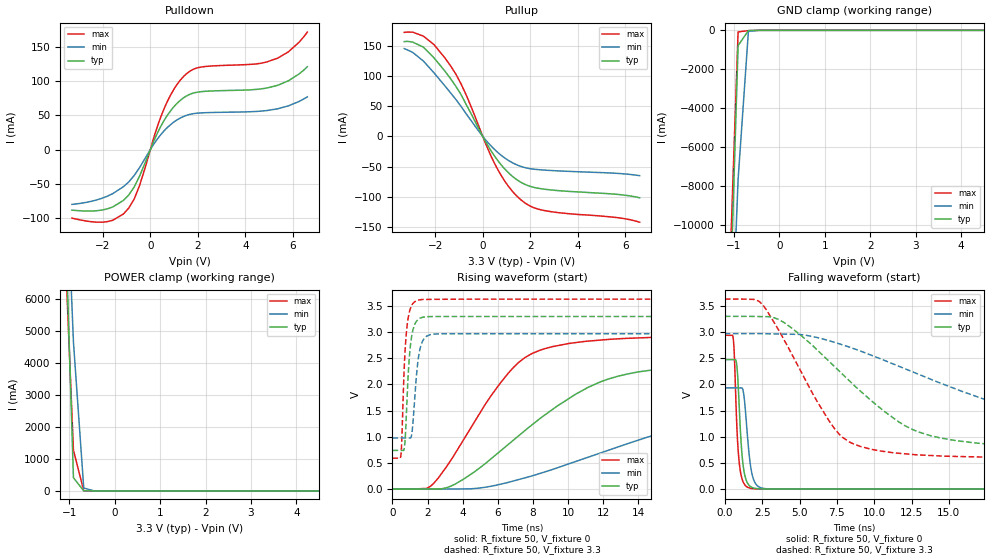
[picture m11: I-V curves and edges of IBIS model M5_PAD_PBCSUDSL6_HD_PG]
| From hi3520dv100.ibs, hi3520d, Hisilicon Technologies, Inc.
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[Model] M5_PAD_PBCSUDSL6_HD_PG
Model_type I/O
Vinl  =  0.8
Vinh  =  2
| Capacitance   typ   min   max
C_comp   3.54522587679e-12   3.80621284733e-12   3.32501668179e-12
| Variables   typ   min   max
[GND Clamp Reference]   0   0   0
[POWER Clamp Reference]   3.3   2.97   3.63
[Pulldown Reference]   0   0   0
[Pullup Reference]   3.3   2.97   3.63
[Temperature Range]   25   125   -40
[Voltage Range]   3.3   2.97   3.63
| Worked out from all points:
|   slope of the pulldown table from 0 to 0.495 V, typ, clamps not added: 13.2 ohm
|   slope of the pullup table from 0 to 0.495 V, typ, clamps not added: 15.3 ohm
|   GND clamp passes 1 mA (typ) near -0.47 V on its own axis
|   POWER clamp passes 1 mA (typ) near -0.51 V on its own axis
|   falling waveform, R_fixture 50, V_fixture 0: 20-80 % time 313ps typ, 390ps min, 273ps max; typ from 2.47 V to 0 V
|   falling waveform, R_fixture 50, V_fixture 3.3: 20-80 % time 6.13ns typ, 11.8ns min, 3.6ns max; typ from 3.3 V to 0.74 V
|   rising waveform, R_fixture 50, V_fixture 0: 20-80 % time 6.07ns typ, 11.6ns min, 3.58ns max; typ from 0 V to 2.47 V
|   rising waveform, R_fixture 50, V_fixture 3.3: 20-80 % time 270ps typ, 315ps min, 245ps max; typ from 0.74 V to 3.3 V
[GND Clamp]
| Voltage   I(typ)   I(min)   I(max)
-3.3V     -188.8A    -149A      -233.7A
-1.134V   -17.95A    -21.05A    -15.29A
-907.5mV  -786.1mA   -7.651A    -80.85mA
-680.6mV  -12.1mA    -50.84mA   -16.79mA
-453.7mV  -324.7uA   -602.9uA   -281.9uA
6.6V      0A         0A         0A
[POWER Clamp]
| Voltage   I(typ)   I(min)   I(max)
-3.3V     113.7A     89.75A     140.8A
-1.134V   10.68A     12.57A     9.071A
-907.5mV  412.4mA    4.667A     1.278A
-680.6mV  3.742mA    91.72mA    5.432mA
-453.7mV  110.3uA    891uA      688.9uA
6.6V      0A         0A         0A
[Pullup]
| Voltage   I(typ)   I(min)   I(max)
-3.3V     156.5mA    145mA      171.7mA
-2.949V   155.8mA    138.8mA    172.2mA
-2.496V   147.4mA    124.4mA    165.6mA
-2.042V   129.3mA    104.6mA    151.3mA
-1.361V   95.78mA    72.31mA    116.9mA
-680.6mV  51.42mA    36.42mA    67.04mA
103.1mV   -7.48mA    -4.978mA   -10.28mA
567.2mV   -36.45mA   -24.24mA   -49.97mA
1.083V    -60.18mA   -39.84mA   -82.62mA
1.65V     -76.86mA   -50.25mA   -106.3mA
2.63V     -87.51mA   -55.88mA   -122.9mA
6.6V      -101.5mA   -64.96mA   -141.9mA
[Pulldown]
| Voltage   I(typ)   I(min)   I(max)
-3.3V     -88.34mA   -80.02mA   -100.1mA
-1.815V   -86.6mA    -68.14mA   -105.2mA
-907.5mV  -66.19mA   -47.21mA   -85.3mA
-453.7mV  -38.72mA   -26.26mA   -52.37mA
206.2mV   17.28mA    11.09mA    24.34mA
618.8mV   44.74mA    28.79mA    62.91mA
1.083V    66.01mA    42.39mA    92.96mA
1.547V    78.68mA    50.2mA     111.4mA
2.217V    84.71mA    53.6mA     120.8mA
4.888V    89.69mA    56.84mA    127.7mA
5.796V    100.1mA    63.63mA    142.3mA
6.6V      120.8mA    76.91mA    171.4mA
[Ramp]
dV/dt_r   1.48393/6.06626n  1.16034/11.6468n  1.76405/3.58219n
dV/dt_f   1.53605/6.13335n  1.19532/11.7579n  1.82288/3.60097n
R_load = 50
[Falling Waveform]
R_fixture = 50
V_fixture = 0
V_fixture_min = 0
V_fixture_max = 0
| Time   V(typ)   V(min)   V(max)
0s        2.473V     1.934V     2.94V
574.1ps   2.473V     1.934V     2.85V
639.7ps   2.473V     1.934V     2.535V
812.9ps   2.332V     1.934V     1.151V
927.4ps   1.795V     1.934V     615.8mV
1.073ns   972.4mV    1.934V     290.6mV
1.358ns   240.3mV    1.571V     74.15mV
1.704ns   52.43mV    481.6mV    17.53mV
2.038ns   14.43mV    114.1mV    4.832mV
100ns     13.5nV     113.1nV    -6.788nV
[Falling Waveform]
R_fixture = 50
V_fixture = 3.3
V_fixture_min = 2.97
V_fixture_max = 3.63
| Time   V(typ)   V(min)   V(max)
0s        3.3V       2.97V      3.63V
2.588ns   3.295V     2.969V     3.501V
3.991ns   3.177V     2.961V     2.839V
6.21ns    2.651V     2.894V     1.66V
7.871ns   2.196V     2.756V     991mV
11.3ns    1.356V     2.388V     694.1mV
14.44ns   977.2mV    2.024V     633.7mV
20.65ns   810mV      1.428V     602.8mV
30.13ns   754.9mV    1.099V     596.5mV
100ns     739.9mV    977.8mV    591.9mV
[Rising Waveform]
R_fixture = 50
V_fixture = 0
V_fixture_min = 0
V_fixture_max = 0
| Time   V(typ)   V(min)   V(max)
0s        2.979nV    23.65nV    6.824nV
2.347ns   5.375mV    854.6uV    110.1mV
4.098ns   201.8mV    5.103mV    970.5mV
6.123ns   721.6mV    92.36mV    2.017V
7.551ns   1.12V      216.5mV    2.514V
11.02ns   1.921V     595.5mV    2.824V
14.04ns   2.241V     940.1mV    2.888V
20.23ns   2.406V     1.509V     2.929V
28.68ns   2.455V     1.806V     2.937V
100ns     2.473V     1.934V     2.94V
[Rising Waveform]
R_fixture = 50
V_fixture = 3.3
V_fixture_min = 2.97
V_fixture_max = 3.63
| Time   V(typ)   V(min)   V(max)
0s        739.9mV    977.7mV    591.9mV
477ps     739.9mV    977.7mV    642.3mV
525.6ps   739.9mV    977.7mV    898.7mV
667.7ps   776.1mV    977.7mV    2.3V
812.8ps   1.588V     977.7mV    3.061V
936.1ps   2.405V     977.7mV    3.343V
1.063ns   2.851V     996.2mV    3.485V
1.438ns   3.23V      2.409V     3.61V
1.707ns   3.282V     2.821V     3.623V
100ns     3.3V       2.97V      3.63V
